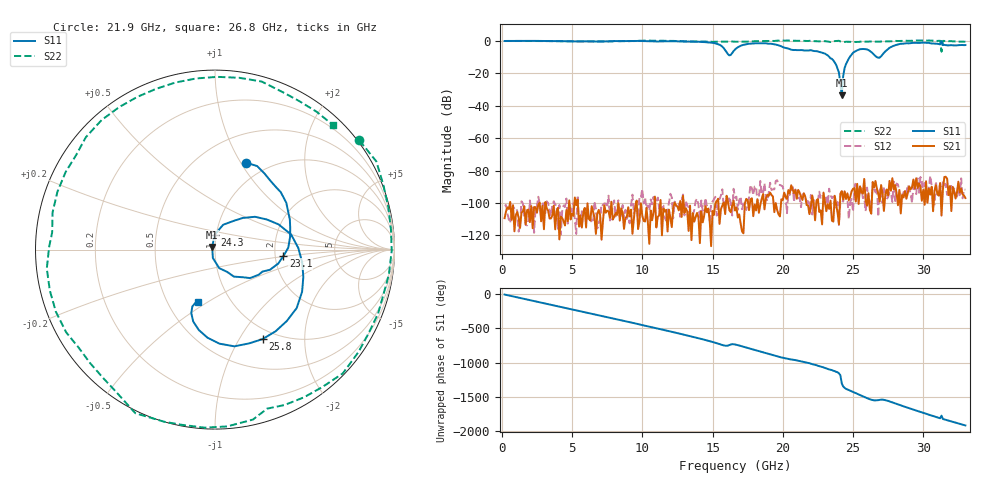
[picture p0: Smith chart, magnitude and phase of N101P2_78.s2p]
# GHZ S RI R 50
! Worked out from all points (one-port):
!   329 points, 200 MHz to 33 GHz, reference 50 ohm
!   lowest |S11| = -33.4 dB at 24.2 GHz (marker M1), VSWR 1.04, Z = 48.4 + j1.42 ohm
!   |S11| at or under -10 dB: 23.33 GHz to 24.76 GHz (1.435 GHz wide, 5.97 % of centre); 26.7 GHz to 26.93 GHz (227.2 MHz wide, 0.847 % of centre)
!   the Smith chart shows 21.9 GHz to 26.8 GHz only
!   S11 on the Smith chart (normalised r, x): 21.9 GHz: 0.80, +1.06; 23.1 GHz: 2.22, -0.18; 24.3 GHz: 0.98, +0.16; 25.8 GHz: 0.86, -1.27; 26.8 GHz: 0.71, -0.46
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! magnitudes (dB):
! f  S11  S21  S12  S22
! 200 MHz  0.0  -109.3  -101.7  0.0
! 5.7 GHz  -0.2  -115.1  -105.0  -0.2
! 11.2 GHz  -0.3  -107.6  -103.3  0.2
! 15.1 GHz  -1.3  -107.3  -97.8  -0.5
! 16.2 GHz  -8.9  -104.4  -96.1  -0.4
! 16.6 GHz  -5.3  -104.6  -96.7  -0.5
! 18.8 GHz  -1.4  -97.0  -96.6  0.0
! 21.9 GHz  -5.8  -106.8  -106.0  0.1
! 22.1 GHz  -5.9  -95.3  -107.1  0.0
! 23.1 GHz  -8.3  -105.0  -95.3  -0.2
! 23.8 GHz  -14.7  -100.8  -102.1  -0.1
! 24 GHz  -19.5  -113.0  -113.5  0.1
! 24.2 GHz  -33.4  -92.6  -98.3  -0.5
! 24.3 GHz  -21.7  -97.9  -99.1  -0.5
! 24.9 GHz  -8.4  -92.7  -97.5  -0.7
! 25.8 GHz  -5.0  -85.1  -96.4  -0.4
! 26.8 GHz  -10.3  -94.1  -108.4  -0.4
! 27.6 GHz  -4.2  -86.3  -93.8  -0.2
! 31.2 GHz  -2.1  -87.6  -87.9  0.1
! 31.3 GHz  0.0  -107.7  -97.9  -6.6
! 31.4 GHz  -2.5  -91.8  -86.5  0.1
! 33 GHz  -2.5  -96.9  -91.7  -0.4
